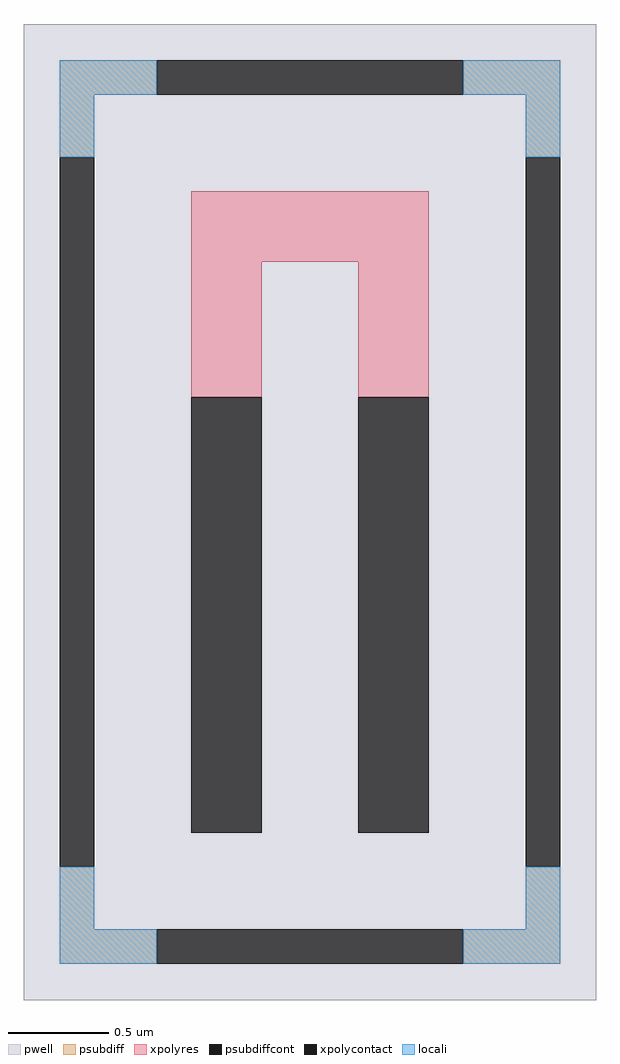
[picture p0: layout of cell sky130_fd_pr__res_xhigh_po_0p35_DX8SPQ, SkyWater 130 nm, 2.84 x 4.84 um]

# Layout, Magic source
magic
tech sky130A
<< pwell >>
rect -142 -242 142 242
<< psubdiff >>
rect -124 207 -76 224
rect 76 207 124 224
rect -124 176 -107 207
rect 107 176 124 207
rect -124 -207 -107 -176
rect 107 -207 124 -176
rect -124 -224 -76 -207
rect 76 -224 124 -207
<< psubdiffcont >>
rect -76 207 76 224
rect -124 -176 -107 176
rect 107 -176 124 176
rect -76 -224 76 -207
<< xpolycontact >>
rect -59 -159 -24 57
rect 24 -159 59 57
<< xpolyres >>
rect -59 124 59 159
rect -59 57 -24 124
rect 24 57 59 124
<< locali >>
rect -124 207 -76 224
rect 76 207 124 224
rect -124 176 -107 207
rect 107 176 124 207
rect -124 -207 -107 -176
rect 107 -207 124 -176
rect -124 -224 -76 -207
rect 76 -224 124 -207
<< properties >>
string FIXED_BBOX -115 -215 115 215
string gencell sky130_fd_pr__res_xhigh_po_0p35
string library sky130
string parameters w 0.35 l 0.5 m 1 nx 2 wmin 0.350 lmin 0.50 rho 2000 val 8.789k dummy 0 dw 0.0 term 188.2 sterm 0.0 caplen 0 wmax 0.350 guard 1 glc 1 grc 1 gtc 1 gbc 1 compatible {sky130_fd_pr__res_xhigh_po_0p35  sky130_fd_pr__res_xhigh_po_0p69 sky130_fd_pr__res_xhigh_po_1p41  sky130_fd_pr__res_xhigh_po_2p85 sky130_fd_pr__res_xhigh_po_5p73} snake 1 full_metal 1 n_guard 0 hv_guard 0 vias 1 viagb 0 viagt 0 viagl 0 viagr 0
<< end >>
